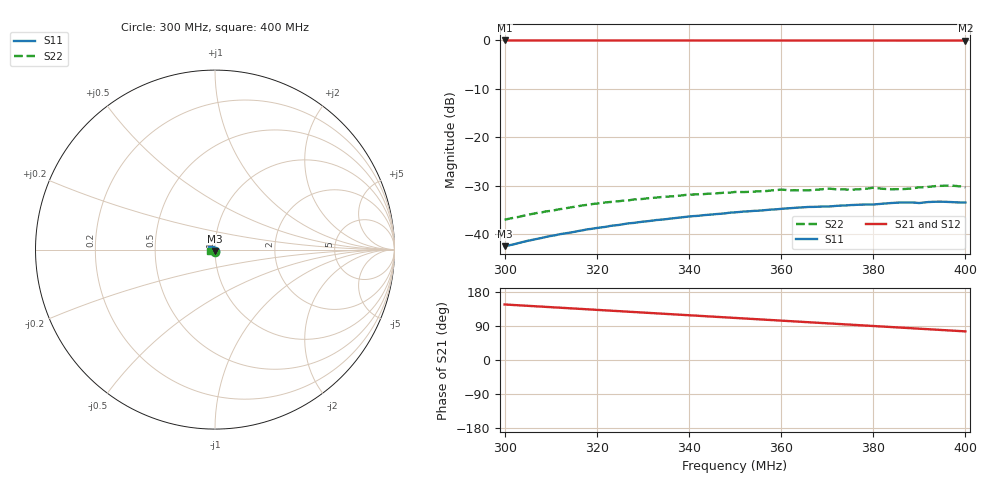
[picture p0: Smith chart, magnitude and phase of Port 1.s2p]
! RsaToolbox (C) 2014 Rohde & Schwarz America
! Number of points: 101
! Number of ports: 2
! Balanced ports?: No
# Hz S RI R 50
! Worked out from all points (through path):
!   101 points, 300 MHz to 400 MHz, reference 50 ohm
!   highest |S21| = -0.10 dB at 300 MHz (marker M1); lowest = -0.1 dB at 400 MHz (marker M2)
!   group delay of S21, straight-line fit = 1.97 ns
!   lowest |S11| = -42.4 dB at 300 MHz (marker M3), VSWR 1.02, Z = 49.9 - j0.742 ohm
!   |S11| at or under -10 dB: start of sweep to end of sweep
!   |S22| runs from -37.0 to -30.0 dB; largest |S21 - S12| = 0
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3e8  -0.0013 -0.00744  -0.8243 0.5447  -0.8243 0.5447  0.000208 -0.0141
3.09e8  -0.00346 -0.00874  -0.7584 0.633  -0.7584 0.633  -0.00236 -0.0171
3.17e8  -0.00555 -0.00951  -0.6919 0.7049  -0.6919 0.7049  -0.00512 -0.0192
3.22e8  -0.00694 -0.00973  -0.6468 0.7464  -0.6468 0.7464  -0.00709 -0.0201
3.27e8  -0.00836 -0.00993  -0.5992 0.7849  -0.5992 0.7849  -0.0089 -0.0206
3.34e8  -0.0103 -0.00969  -0.5289 0.8338  -0.5289 0.8338  -0.0116 -0.0212
3.4e8  -0.0121 -0.00928  -0.4654 0.8707  -0.4654 0.8707  -0.014 -0.0215
3.5e8  -0.0147 -0.00814  -0.3541 0.9213  -0.3541 0.9213  -0.0175 -0.0209
3.54e8  -0.0156 -0.00767  -0.3079 0.9377  -0.3079 0.9377  -0.0189 -0.02
3.6e8  -0.0172 -0.00631  -0.2374 0.9579  -0.2374 0.9579  -0.0212 -0.0195
3.62e8  -0.0175 -0.00617  -0.2135 0.9634  -0.2135 0.9634  -0.0214 -0.0186
3.67e8  -0.0184 -0.00522  -0.1534 0.9747  -0.1534 0.9747  -0.0227 -0.0174
3.7e8  -0.0189 -0.00416  -0.1171 0.9797  -0.1171 0.9797  -0.0242 -0.0169
3.76e8  -0.0198 -0.00309  -0.0441 0.9856  -0.0441 0.9856  -0.025 -0.0145
3.8e8  -0.0202 -0.00139  0.00481 0.9864  0.00481 0.9864  -0.0268 -0.0139
3.84e8  -0.021 -0.000808  0.0537 0.9849  0.0537 0.9849  -0.0264 -0.0122
3.87e8  -0.0212 0.000233  0.0903 0.9821  0.0903 0.9821  -0.027 -0.0114
3.9e8  -0.0209 0.00158  0.1267 0.978  0.1267 0.978  -0.0287 -0.0103
3.92e8  -0.0213 0.00263  0.1509 0.9746  0.1509 0.9746  -0.0288 -0.0108
3.96e8  -0.0211 0.00437  0.199 0.9658  0.199 0.9658  -0.0301 -0.00994
3.98e8  -0.0208 0.00467  0.2229 0.9606  0.2229 0.9606  -0.0303 -0.00842
4e8  -0.0207 0.00458  0.2466 0.9547  0.2466 0.9547  -0.0296 -0.00676
